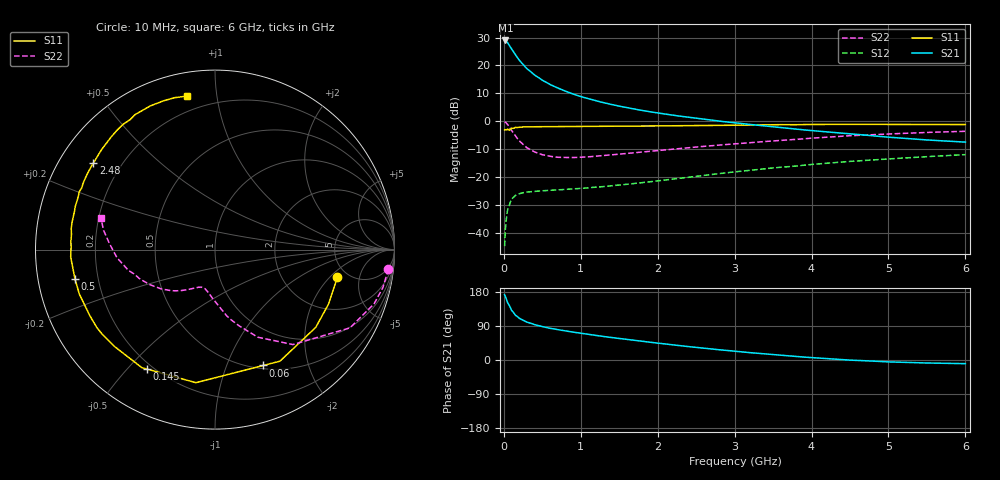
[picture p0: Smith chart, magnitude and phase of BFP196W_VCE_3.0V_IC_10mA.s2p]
! Infineon Technologies  Discrete & RF Semiconductors
! BFP196W
! VCE = 3.0 V,  IC =  10mA
! Common Emitter S-Parameters:  Jan 2016
# GHz  S  MA  R  50
!  f  S11  S21  S12  S22
! GHz  MAG  ANG  MAG  ANG  MAG  ANG  MAG  ANG
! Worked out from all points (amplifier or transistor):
!   210 points, 10 MHz to 6 GHz, reference 50 ohm
!   highest |S21| = 29.0 dB at 20 MHz (marker M1)
!   |S21| within 3 dB of that: start of sweep to 100.3 MHz
!   unconditionally stable (mu >= 1): 1.188 GHz to 3.268 GHz
!   at 185 MHz: K = 0.21, MSG = 24.4 dB, |S12| = -26.2 dB
!   at 1.52 GHz: K = 1.13, MAG = 11.9 dB, |S12| = -22.9 dB
!   at 6 GHz: K = 0.95, MSG = 2.2 dB, |S12| = -12.0 dB
!   S11 on the Smith chart (normalised r, x): 10 MHz: 4.08, -2.48; 60 MHz: 0.54, -1.36; 145 MHz: 0.18, -0.57; 500 MHz: 0.11, -0.10; 2.48 GHz: 0.10, +0.32; 6 GHz: 0.12, +0.82
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0.01  0.6993 -12.8  28.03 172.3  0.0057 83.4  0.9727 -6.4
0.02  0.7016 -25.7  28.15 167.8  0.0113 77.7  0.959 -12.8
0.03  0.7091 -37.7  27.53 162.0  0.0165 73.1  0.9365 -18.8
0.05  0.7193 -59.8  25.6 151.0  0.0259 63.8  0.8695 -30.1
0.06  0.6991 -67.4  24.27 147.8  0.0284 58.9  0.8252 -33.4
0.1  0.7491 -98.2  19.96 131.2  0.0398 46.1  0.6846 -50.6
0.145  0.7656 -119.6  16.01 119.9  0.0459 37.2  0.5556 -62.4
0.15  0.7737 -121.8  15.62 118.3  0.0466 36.4  0.5431 -64.0
0.2  0.7775 -135.9  12.46 110.2  0.0497 30.8  0.444 -72.6
0.26  0.7886 -146.6  10.05 103.6  0.0524 27.1  0.3734 -80.1
0.3  0.7885 -152.1  8.757 99.9  0.0534 25.6  0.3333 -83.9
0.4  0.7954 -161.8  6.731 93.2  0.0549 23.7  0.2805 -91.5
0.5  0.7972 -168.2  5.448 88.0  0.0563 23.6  0.2502 -96.9
0.7  0.805 -177.1  3.947 80.1  0.0584 25.4  0.2249 -104.2
1.02  0.8049 173.6  2.716 70.0  0.0623 30.0  0.2261 -112.3
1.4  0.8112 164.9  1.994 59.2  0.0691 36.1  0.2487 -119.3
2.02  0.8233 152.7  1.392 44.1  0.0853 44.3  0.299 -130.1
2.48  0.8319 144.6  1.136 33.7  0.1015 47.3  0.3416 -138.4
3.1  0.8499 134.1  0.903 21.4  0.1271 47.8  0.402 -150.0
4.1  0.8738 119.4  0.66 5.2  0.1715 43.8  0.5051 -168.3
5.1  0.8765 108.1  0.505 -5.5  0.2141 36.7  0.5967 175.3
6  0.8694 100.5  0.421 -9.7  0.251 30.1  0.6583 164.7
